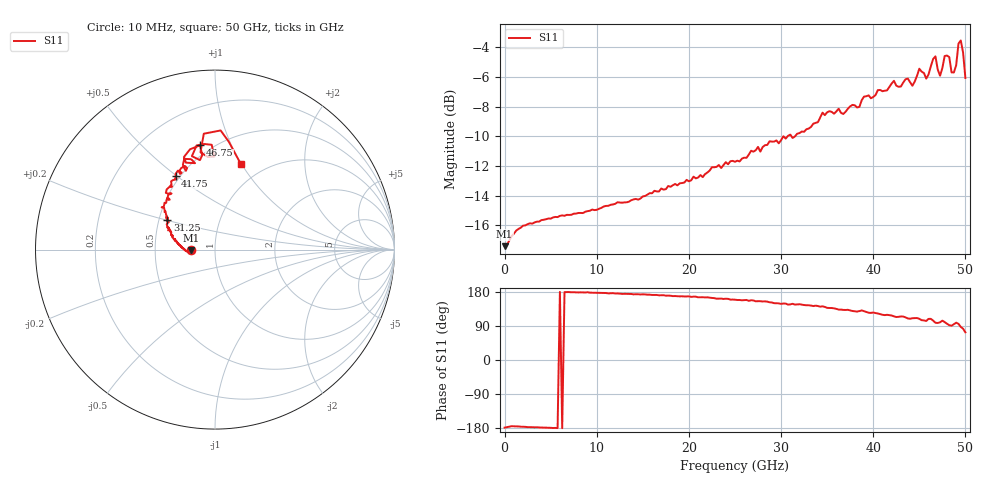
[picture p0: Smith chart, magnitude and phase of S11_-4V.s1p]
!Agilent Technologies,N5227A,US51270434,A.10.00.00
!Agilent N5227A: A.10.00.00
!Date: Thursday, February 26, 2026 12:51:15
!Correction: S11(Full 1 Port(1))
!S1P File: Measurement: S11:
# Hz S  dB  R 50
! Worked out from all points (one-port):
!   201 points, 10 MHz to 50 GHz, reference 50 ohm
!   lowest |S11| = -17.4 dB at 10 MHz (marker M1), VSWR 1.31, Z = 38.1 - j0.285 ohm
!   |S11| at or under -10 dB: start of sweep to 30.72 GHz; 31.13 GHz to 31.53 GHz (403 MHz wide, 1.29 % of centre)
!   S11 on the Smith chart (normalised r, x): 10 MHz: 0.76, -0.01; 31.25 GHz: 0.55, +0.20; 41.75 GHz: 0.47, +0.49; 46.75 GHz: 0.43, +0.77; 50 GHz: 0.79, +0.99
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1e7  -17.41 -178.4
2.0096e9  -16.02 -176.1
6.25875e9  -15.33 -180.0
1.25075e10  -14.46 175.2
1.875625e10  -13.31 168.3
2.5005e10  -11.72 159.2
3.125375e10  -10.12 148.3
3.45031e10  -8.41 141.6
3.75025e10  -7.99 131.0
4.175165e10  -6.68 118.3
4.375125e10  -6.11 109.7
4.425115e10  -6.60 110.3
4.475105e10  -5.93 110.7
4.5001e10  -5.45 108.7
4.575085e10  -6.12 103.0
4.625075e10  -5.29 108.6
4.675065e10  -4.62 98.1
4.725055e10  -5.92 99.6
4.75005e10  -5.41 103.9
4.80004e10  -4.56 95.7
4.825035e10  -4.67 91.8
4.85003e10  -5.70 90.4
4.875025e10  -5.71 94.6
4.90002e10  -5.22 98.5
4.925015e10  -3.76 95.5
4.95001e10  -3.55 87.3
4.975005e10  -4.37 82.6
5e10  -6.08 73.0
